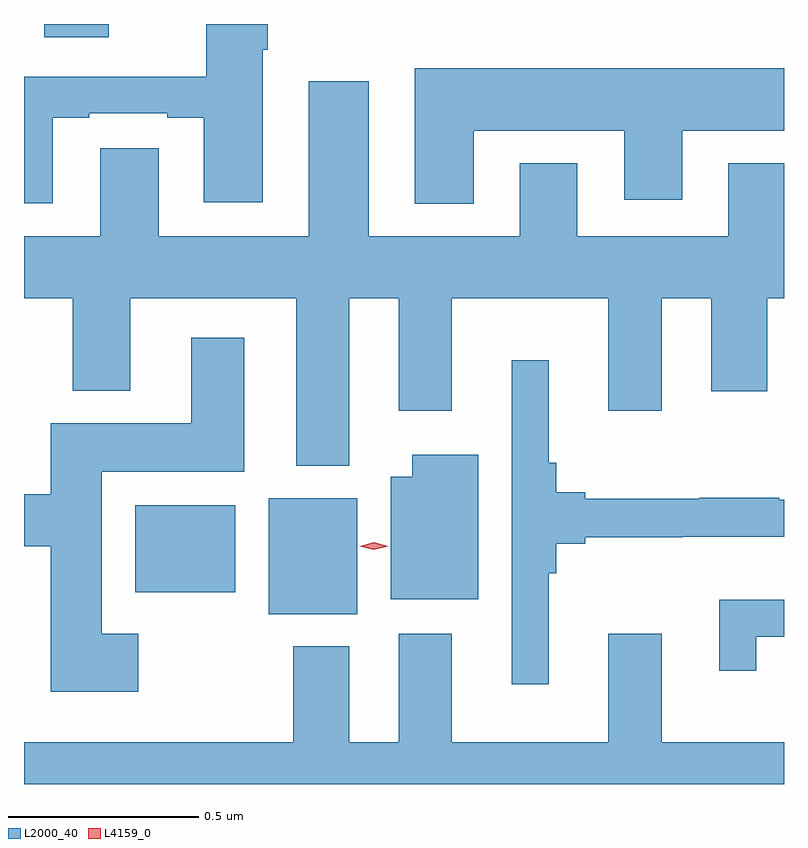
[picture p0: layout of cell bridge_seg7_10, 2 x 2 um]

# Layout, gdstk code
import gdstk
lib = gdstk.Library(unit=1e-6, precision=1e-09)
def R(c, l, rs):  # rectangles x0, y0, x1, y1
    for r in rs: c.add(gdstk.rectangle(r[:2], r[2:], *l))
def P(c, l, *ps):  # polygons
    for p in ps: c.add(gdstk.Polygon(p, *l))
L2000_40 = (2000, 40)
L4159_0 = (4159, 0)

bridge_seg7_10 = lib.new_cell('bridge_seg7_10')
R(bridge_seg7_10, L2000_40, [(1117.415,1067.717,1117.648,1068.022), (1117.064,1067.774,1117.327,1068.004), (1116.824,1069.235,1116.994,1069.27)])
P(bridge_seg7_10, L2000_40, [(1116.847,1069.023),(1116.943,1069.023),(1116.943,1069.035),(1117.148,1069.035),(1117.148,1069.023),(1117.244,1069.023),(1117.244,1068.801),(1117.399,1068.801),(1117.399,1069.202),(1117.412,1069.202),(1117.412,1069.27),(1117.25,1069.27),(1117.25,1069.131),(1116.771,1069.131),(1116.771,1068.798),(1116.847,1068.798)],
  [(1117.954,1068.989),(1118.351,1068.989),(1118.351,1068.807),(1118.503,1068.807),(1118.503,1068.989),(1118.771,1068.989),(1118.771,1069.153),(1117.799,1069.153),(1117.799,1068.797),(1117.954,1068.797)],
  [(1116.971,1068.943),(1116.971,1068.712),(1116.771,1068.712),(1116.771,1068.548),(1116.899,1068.548),(1116.899,1068.305),(1117.051,1068.305),(1117.051,1068.548),(1117.487,1068.548),(1117.487,1068.107),(1117.627,1068.107),(1117.627,1068.548),(1117.757,1068.548),(1117.757,1068.252),(1117.897,1068.252),(1117.897,1068.548),(1118.309,1068.548),(1118.309,1068.252),(1118.449,1068.252),(1118.449,1068.548),(1118.579,1068.548),(1118.579,1068.303),(1118.727,1068.303),(1118.727,1068.548),(1118.771,1068.548),(1118.771,1068.904),(1118.624,1068.904),(1118.624,1068.712),(1118.227,1068.712),(1118.227,1068.904),(1118.075,1068.904),(1118.075,1068.712),(1117.678,1068.712),(1117.678,1069.12),(1117.52,1069.12),(1117.52,1068.712),(1117.126,1068.712),(1117.126,1068.943)],
  [(1117.072,1067.665),(1116.976,1067.665),(1116.976,1068.092),(1117.351,1068.092),(1117.351,1068.445),(1117.211,1068.445),(1117.211,1068.22),(1116.842,1068.22),(1116.842,1068.032),(1116.771,1068.032),(1116.771,1067.896),(1116.842,1067.896),(1116.842,1067.513),(1117.072,1067.513)],
  [(1118.152,1067.825),(1118.171,1067.825),(1118.171,1067.902),(1118.248,1067.902),(1118.248,1067.92),(1118.504,1067.92),(1118.504,1067.921),(1118.771,1067.921),(1118.771,1068.018),(1118.759,1068.018),(1118.759,1068.023),(1118.548,1068.023),(1118.548,1068.021),(1118.248,1068.021),(1118.248,1068.038),(1118.171,1068.038),(1118.171,1068.115),(1118.152,1068.115),(1118.152,1068.385),(1118.055,1068.385),(1118.055,1067.532),(1118.152,1067.532)],
  [(1117.966,1068.136),(1117.793,1068.136),(1117.793,1068.079),(1117.736,1068.079),(1117.736,1067.756),(1117.966,1067.756)],
  [(1118.698,1067.658),(1118.771,1067.658),(1118.771,1067.755),(1118.6,1067.755),(1118.6,1067.568),(1118.698,1067.568)],
  [(1118.771,1067.38),(1118.449,1067.38),(1118.449,1067.665),(1118.309,1067.665),(1118.309,1067.38),(1117.897,1067.38),(1117.897,1067.665),(1117.757,1067.665),(1117.757,1067.38),(1117.627,1067.38),(1117.627,1067.632),(1117.48,1067.632),(1117.48,1067.38),(1116.771,1067.38),(1116.771,1067.27),(1118.771,1067.27)])
P(bridge_seg7_10, L4159_0, [(1117.692,1067.886),(1117.655,1067.896),(1117.654,1067.896),(1117.655,1067.896),(1117.692,1067.906),(1117.73,1067.896),(1117.73,1067.896),(1117.73,1067.896)])

lib.write_gds('bridge_seg7_10.gds')
